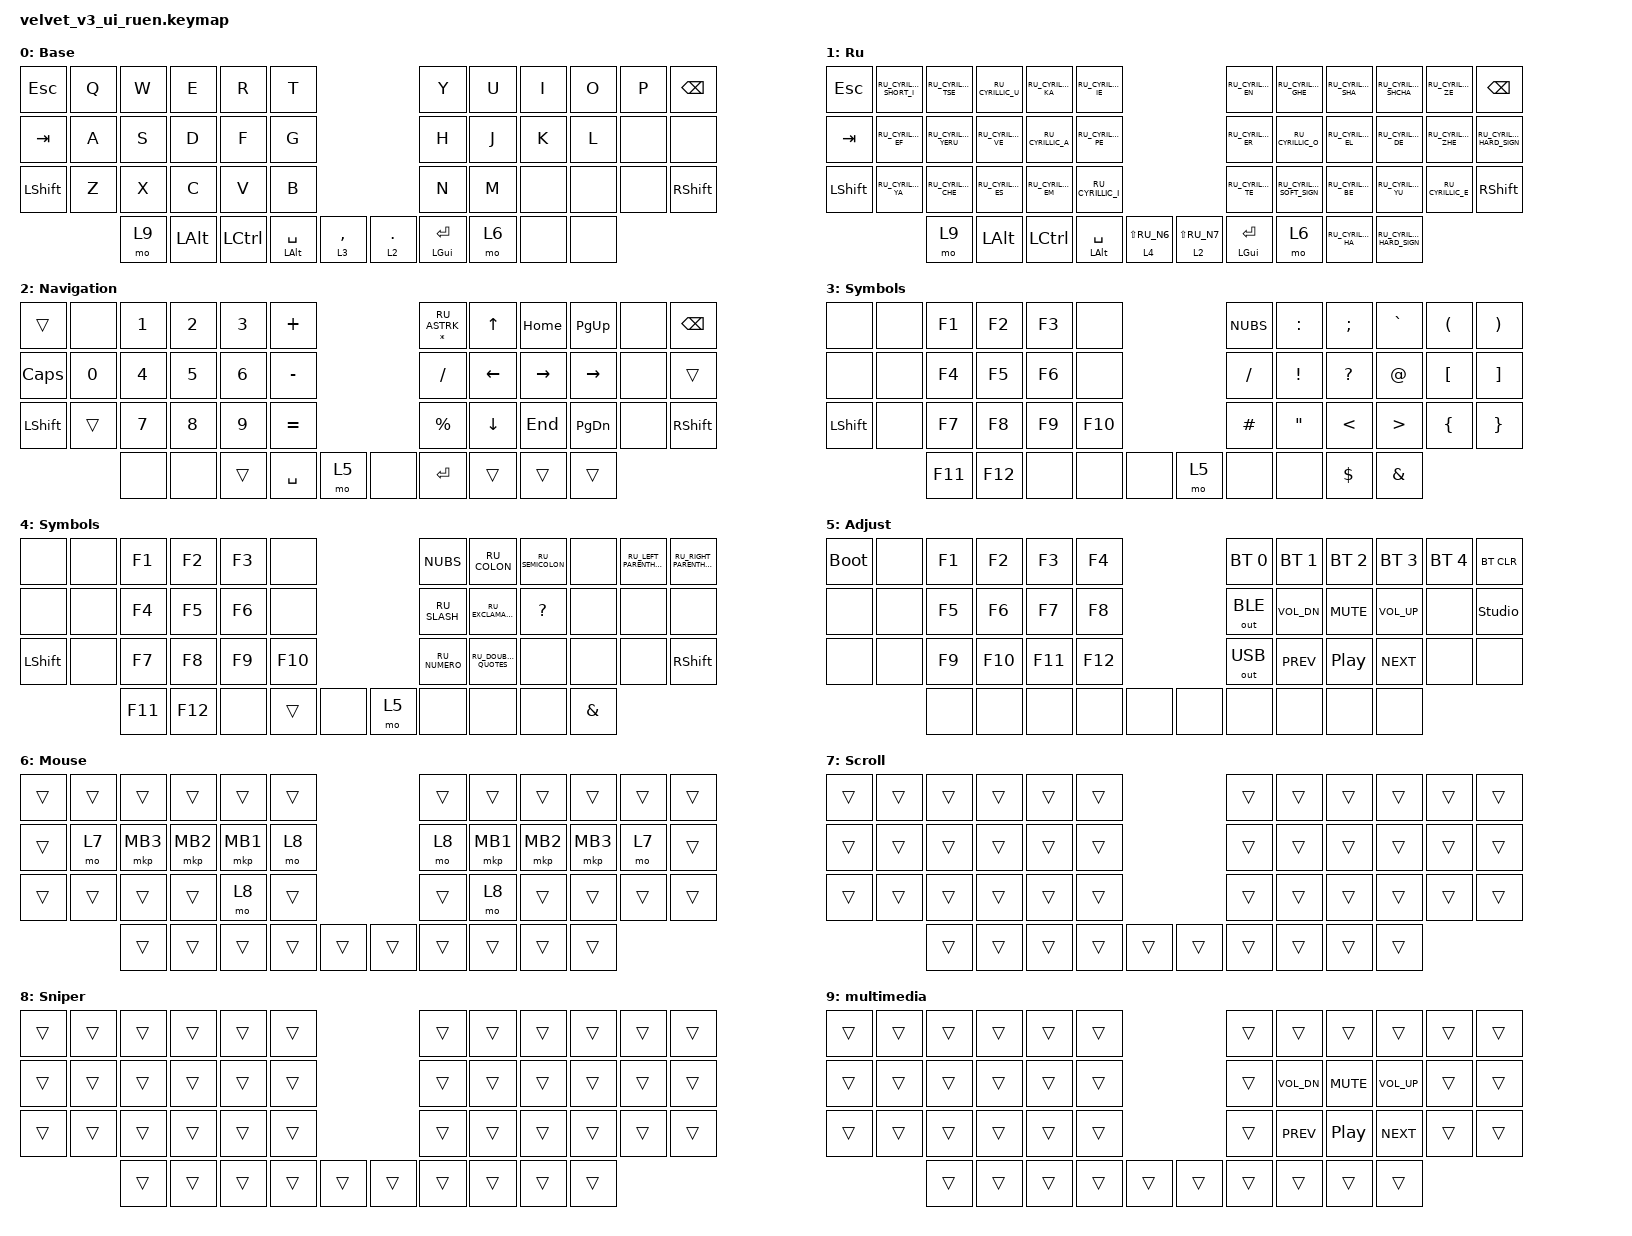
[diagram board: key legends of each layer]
#include "keys_ru.h"
#include <dt-bindings/zmk/input_transform.h>
#include <input/processors.dtsi>
#include <zephyr/dt-bindings/input/input-event-codes.h>
#include <behaviors.dtsi>
#include <dt-bindings/zmk/bt.h>
#include <dt-bindings/zmk/keys.h>
#include <dt-bindings/zmk/outputs.h>
#include <dt-bindings/zmk/pointing.h>

/ {
    combos {
        compatible = "zmk,combos";

        cmben {
            bindings = <&layer_en>;
            key-positions = <7 8>;
            layers = <1>;
        };

        cmbru {
            bindings = <&layer_ru>;
            key-positions = <3 4>;
            layers = <0>;
        };

        psw {
            bindings = <&pw>;
            key-positions = <19 6>;
        };

        to_ruEn {
            bindings = <&to_ruEn>;
            key-positions = <16 15>;
        };

        roundBracket {
            bindings = <&roundBracket>;
            key-positions = <10 11>;
        };

        squareBracket {
            bindings = <&squareBracket>;
            key-positions = <22 23>;
        };

        curlyBrace {
            bindings = <&curlyBrace>;
            key-positions = <34 35>;
        };

        dqt {
            bindings = <&dqt>;
            key-positions = <38 31>;
        };

        grave {
            bindings = <&grave>;
            key-positions = <38 9>;
        };

        nazadStranica {
            bindings = <&NazadStranica>;
            key-positions = <38 19>;
        };

        vperedStranica {
            bindings = <&vperedStranica>;
            key-positions = <38 20>;
        };

        vperedVkladki {
            bindings = <&vperedVkladki>;
            key-positions = <39 20>;
        };

        nazadVkladki {
            bindings = <&NazadVkladki>;
            key-positions = <39 19>;
        };

        screenshotOfTheScreen {
            bindings = <&screenshotOfTheScreen>;
            key-positions = <16 5>;
        };

        screenshotOfTheArea {
            bindings = <&screenshotOfTheArea>;
            key-positions = <16 17>;
        };

        screenshotOfTheWindow {
            bindings = <&screenshotOfTheWindow>;
            key-positions = <16 29>;
        };

        screenshotTools {
            bindings = <&screenshotTools>;
            key-positions = <17 29>;
        };

        p_w2 {
            bindings = <&p_w2>;
            key-positions = <30 19>;
        };
    };

    macros {
        to_ruEn: to_ru {
            compatible = "zmk,behavior-macro";
            #binding-cells = <0>;
            bindings = <&kp LC(SPACE)>;
            label = "TO_RU";
        };

        layer_en: layer_en {
            compatible = "zmk,behavior-macro";
            #binding-cells = <0>;
            bindings = <&to 0 &to_ruEn>;
            label = "LAYER_EN";
        };

        layer_ru: layer_ru {
            compatible = "zmk,behavior-macro";
            #binding-cells = <0>;
            bindings = <&to 1 &to_ruEn>;
            label = "LAYER_RU";
        };

        ctrAltDel: ctrAltDel {
            compatible = "zmk,behavior-macro";
            #binding-cells = <0>;
            bindings = <&kp LC(LA(DELETE))>;
            label = "CTRALTDEL";
        };

        pw: pw {
            compatible = "zmk,behavior-macro";
            #binding-cells = <0>;
            bindings = <&kp LS(A) &kp N &kp A &kp N &kp A &kp S &kp N3 &kp N7 &kp N4 &kp NUMBER_7 &kp NUMBER_4 &kp NUMBER_8 &kp EXCL>;
            label = "PW";
        };

        roundBracket: roundBracket {
            compatible = "zmk,behavior-macro";
            #binding-cells = <0>;
            bindings = <&kp LPAR &kp RPAR &kp LEFT>;
            label = "ROUNDBRACKET";
        };

        squareBracket: curlyBrace {
            compatible = "zmk,behavior-macro";
            #binding-cells = <0>;
            bindings = <&kp LEFT_BRACKET &kp RIGHT_BRACKET &kp LEFT>;
            label = "CURLYBRACE";
        };

        curlyBrace: squareBracket {
            compatible = "zmk,behavior-macro";
            #binding-cells = <0>;
            bindings = <&kp LEFT_BRACE &kp ENTER &kp ENTER &kp RIGHT_BRACE &kp UP>;
            label = "SQUAREBRACKET";
        };

        dqt: dqt {
            compatible = "zmk,behavior-macro";
            #binding-cells = <0>;
            bindings = <&kp DQT &kp DQT &kp LEFT_ARROW>;
            label = "DQT";
        };

        grave: grave {
            compatible = "zmk,behavior-macro";
            #binding-cells = <0>;
            bindings = <&kp GRAVE &kp GRAVE &kp GRAVE &kp GRAVE &kp GRAVE &kp GRAVE &kp LEFT_ARROW &kp LEFT_ARROW &kp LEFT_ARROW>;
            label = "GRAVE";
        };

        NazadStranica: vperedNazadStranica {
            compatible = "zmk,behavior-macro";
            #binding-cells = <0>;
            bindings = <&kp LG(LEFT_ARROW)>;
            label = "VPEREDNAZADSTRANICA";
        };

        vperedVkladki: vperedNazadVkladki {
            compatible = "zmk,behavior-macro";
            #binding-cells = <0>;
            bindings = <&kp LC(TAB)>;
            label = "VPEREDNAZADVKLADKI";
        };

        NazadVkladki: NazadVkladki {
            compatible = "zmk,behavior-macro";
            #binding-cells = <0>;
            bindings = <&kp LS(LC(TAB))>;
            label = "NAZADVKLADKI";
        };

        vperedStranica: vperedStranica {
            compatible = "zmk,behavior-macro";
            #binding-cells = <0>;
            bindings = <&kp LG(RIGHT_ARROW)>;
            label = "VPEREDSTRANICA";
        };

        screenshotOfTheScreen: screenshotOfTheScreen {
            compatible = "zmk,behavior-macro";
            #binding-cells = <0>;
            bindings = <&kp LS(LG(NUMBER_3))>;
            label = "SCREENSHOTOFTHESCREEN";
        };

        screenshotOfTheArea: area {
            compatible = "zmk,behavior-macro";
            #binding-cells = <0>;
            bindings = <&kp LS(LG(NUMBER_4))>;
            label = "AREA";
        };

        screenshotOfTheWindow: screenshotOfTheWindow {
            compatible = "zmk,behavior-macro";
            #binding-cells = <0>;
            bindings = <&kp LS(LG(NUMBER_4)) &kp SPACE>;
            label = "SCREENSHOTOFTHEWINDOW";
        };

        screenshotTools: screenshotTools {
            compatible = "zmk,behavior-macro";
            #binding-cells = <0>;
            bindings = <&kp LS(LG(NUMBER_5))>;
            label = "SCREENSHOTTOOLS";
        };

        p_w2: p_w2 {
            compatible = "zmk,behavior-macro";
            #binding-cells = <0>;
            bindings = <&kp LS(W) &kp E &kp B &kp M &kp A &kp S &kp T &kp E &kp R &kp POUND &kp N0 &kp N8 &kp N3 &kp N7 &kp N8 &kp N0>;
            label = "P_W2";
        };
    };

    keymap {
        compatible = "zmk,keymap";

        en {
            bindings = <
&kp ESC    &kp Q  &kp W  &kp E         &kp R      &kp T                                         &kp Y               &kp U  &kp I  &kp O  &kp P  &kp BSPC
&kp TAB    &kp A  &kp S  &kp D         &kp F      &kp G                                         &kp H               &kp J  &kp K  &kp L  &none  &none
&kp LSHFT  &kp Z  &kp X  &kp C         &kp V      &kp B                                         &kp N               &kp M  &none  &none  &none  &kp RSHFT
                  &mo 9  &kp LEFT_ALT  &kp LCTRL  &mt LEFT_ALT SPACE  &lt 3 COMMA    &lt 2 DOT  &mt LEFT_GUI ENTER  &mo 6  &none  &none
            >;

            display-name = "Base";
        };

        ru {
            display-name = "Ru";
            bindings = <
&kp ESC    &kp RU_CYRILLIC_SHORT_I  &kp RU_CYRILLIC_TSE   &kp RU_CYRILLIC_U   &kp RU_CYRILLIC_KA  &kp RU_CYRILLIC_IE                                      &kp RU_CYRILLIC_EN  &kp RU_CYRILLIC_GHE        &kp RU_CYRILLIC_SHA  &kp RU_CYRILLIC_SHCHA      &kp RU_CYRILLIC_ZE   &kp BSPC
&kp TAB    &kp RU_CYRILLIC_EF       &kp RU_CYRILLIC_YERU  &kp RU_CYRILLIC_VE  &kp RU_CYRILLIC_A   &kp RU_CYRILLIC_PE                                      &kp RU_CYRILLIC_ER  &kp RU_CYRILLIC_O          &kp RU_CYRILLIC_EL   &kp RU_CYRILLIC_DE         &kp RU_CYRILLIC_ZHE  &kp RU_CYRILLIC_HARD_SIGN
&kp LSHFT  &kp RU_CYRILLIC_YA       &kp RU_CYRILLIC_CHE   &kp RU_CYRILLIC_ES  &kp RU_CYRILLIC_EM  &kp RU_CYRILLIC_I                                       &kp RU_CYRILLIC_TE  &kp RU_CYRILLIC_SOFT_SIGN  &kp RU_CYRILLIC_BE   &kp RU_CYRILLIC_YU         &kp RU_CYRILLIC_E    &kp RSHFT
                                    &mo 9                 &kp LEFT_ALT        &kp LCTRL           &mt LEFT_ALT SPACE  &lt 4 LS(RU_N6)    &lt 2 LS(RU_N7)  &mt LEFT_GUI ENTER  &mo 6                      &kp RU_CYRILLIC_HA   &kp RU_CYRILLIC_HARD_SIGN
            >;
        };

        nav {
            bindings = <
&trans          &none   &kp N1        &kp NUMBER_2  &kp NUMBER_3  &kp PLUS                   &mt ASTRK RU_ASTRK  &kp UP    &kp HOME         &kp PG_UP        &none  &kp BACKSPACE
&kp CAPS        &kp N0  &kp NUMBER_4  &kp NUMBER_5  &kp N6        &kp MINUS                  &kp FSLH            &kp LEFT  &kp RIGHT_ARROW  &kp RIGHT_ARROW  &none  &trans
&kp LEFT_SHIFT  &trans  &kp N7        &kp N8        &kp N9        &kp EQUAL                  &kp PRCNT           &kp DOWN  &kp END          &kp PG_DN        &none  &kp RIGHT_SHIFT
                        &none         &none         &trans        &kp SPACE  &mo 5    &none  &kp ENTER           &trans    &trans           &trans
            >;

            display-name = "Navigation";
        };

        sym_en {
            bindings = <
&none           &none  &kp F1   &kp F2   &kp F3  &none                    &kp NUBS  &kp COLON  &kp SEMI       &kp GRAVE         &kp LEFT_PARENTHESIS  &kp RPAR
&none           &none  &kp F4   &kp F5   &kp F6  &none                    &kp FSLH  &kp EXCL   &kp QMARK      &kp AT_SIGN       &kp LEFT_BRACKET      &kp RIGHT_BRACKET
&kp LEFT_SHIFT  &none  &kp F7   &kp F8   &kp F9  &kp F10                  &kp HASH  &kp DQT    &kp LESS_THAN  &kp GREATER_THAN  &kp LEFT_BRACE        &kp RIGHT_BRACE
                       &kp F11  &kp F12  &none   &none    &none    &mo 5  &none     &none      &kp DOLLAR     &kp AMPERSAND
            >;

            display-name = "Symbols";
        };

        sym_ru {
            display-name = "Symbols";
            bindings = <
&none           &none  &kp F1   &kp F2   &kp F3  &none                    &kp NUBS       &kp RU_COLON          &kp RU_SEMICOLON  &none          &kp RU_LEFT_PARENTHESIS  &kp RU_RIGHT_PARENTHESIS
&none           &none  &kp F4   &kp F5   &kp F6  &none                    &kp RU_SLASH   &kp RU_EXCLAMATION    &kp QUESTION      &none          &none                    &none
&kp LEFT_SHIFT  &none  &kp F7   &kp F8   &kp F9  &kp F10                  &kp RU_NUMERO  &kp RU_DOUBLE_QUOTES  &none             &none          &none                    &kp RIGHT_SHIFT
                       &kp F11  &kp F12  &none   &trans   &none    &mo 5  &none          &none                 &none             &kp AMPERSAND
            >;
        };

        adj {
            bindings = <
&bootloader  &none  &kp F1  &kp F2   &kp F3   &kp F4                   &bt BT_SEL 0  &bt BT_SEL 1  &bt BT_SEL 2      &bt BT_SEL 3  &bt BT_SEL 4  &bt BT_CLR
&none        &none  &kp F5  &kp F6   &kp F7   &kp F8                   &out OUT_BLE  &kp C_VOL_DN  &kp C_MUTE        &kp C_VOL_UP  &none         &studio_unlock
&none        &none  &kp F9  &kp F10  &kp F11  &kp F12                  &out OUT_USB  &kp C_PREV    &kp C_PLAY_PAUSE  &kp C_NEXT    &none         &none
                    &none   &none    &none    &none    &none    &none  &none         &none         &none             &none
            >;

            display-name = "Adjust";
        };

        mouse {
            bindings = <
&trans  &trans  &trans    &trans    &trans    &trans                    &trans  &trans    &trans    &trans    &trans  &trans
&trans  &mo 7   &mkp MB3  &mkp MB2  &mkp MB1  &mo 8                     &mo 8   &mkp MB1  &mkp MB2  &mkp MB3  &mo 7   &trans
&trans  &trans  &trans    &trans    &mo 8     &trans                    &trans  &mo 8     &trans    &trans    &trans  &trans
                &trans    &trans    &trans    &trans  &trans    &trans  &trans  &trans    &trans    &trans
            >;

            display-name = "Mouse";
        };

        scroll {
            bindings = <
&trans  &trans  &trans  &trans  &trans  &trans                    &trans  &trans  &trans  &trans  &trans  &trans
&trans  &trans  &trans  &trans  &trans  &trans                    &trans  &trans  &trans  &trans  &trans  &trans
&trans  &trans  &trans  &trans  &trans  &trans                    &trans  &trans  &trans  &trans  &trans  &trans
                &trans  &trans  &trans  &trans  &trans    &trans  &trans  &trans  &trans  &trans
            >;

            display-name = "Scroll";
        };

        sniper {
            bindings = <
&trans  &trans  &trans  &trans  &trans  &trans                    &trans  &trans  &trans  &trans  &trans  &trans
&trans  &trans  &trans  &trans  &trans  &trans                    &trans  &trans  &trans  &trans  &trans  &trans
&trans  &trans  &trans  &trans  &trans  &trans                    &trans  &trans  &trans  &trans  &trans  &trans
                &trans  &trans  &trans  &trans  &trans    &trans  &trans  &trans  &trans  &trans
            >;

            display-name = "Sniper";
        };

        multimedia {
            bindings = <
&trans  &trans  &trans  &trans  &trans  &trans                    &trans  &trans        &trans            &trans           &trans  &trans
&trans  &trans  &trans  &trans  &trans  &trans                    &trans  &kp C_VOL_DN  &kp C_MUTE        &kp C_VOLUME_UP  &trans  &trans
&trans  &trans  &trans  &trans  &trans  &trans                    &trans  &kp C_PREV    &kp C_PLAY_PAUSE  &kp C_NEXT       &trans  &trans
                &trans  &trans  &trans  &trans  &trans    &trans  &trans  &trans        &trans            &trans
            >;
        };
    };
};

&trackball { cpi = <1000>; };

&trackball_listener {
    input-processors = <&zip_xy_scaler 9 20>;

    scroller {
        layers = <7>;
        input-processors =
            <&zip_xy_transform INPUT_TRANSFORM_Y_INVERT>,
            <&zip_xy_scaler 1 32>,
            <&zip_xy_to_scroll_mapper>;
    };

    sniper {
        layers = <8>;
        input-processors = <&zip_xy_scaler 1 4>;
    };
};
